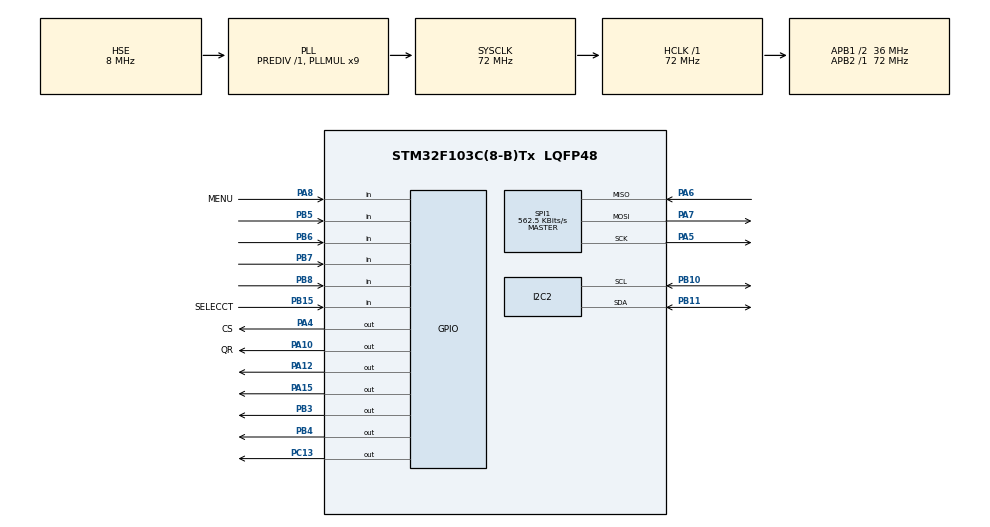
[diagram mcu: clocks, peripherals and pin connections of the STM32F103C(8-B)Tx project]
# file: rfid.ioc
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Mcu.Family=STM32F1
Mcu.Name=STM32F103C(8-B)Tx
Mcu.Package=LQFP48
NVIC.PriorityGroup=NVIC_PRIORITYGROUP_4
NVIC.TIM2_IRQn=true\:0\:0\:false\:false\:true\:true\:true\:true
PA10.GPIO_Label=QR
PA10.Signal=GPIO_Output
PA12.Signal=GPIO_Output
PA13.Mode=Serial_Wire
PA13.Signal=SYS_JTMS-SWDIO
PA14.Mode=Serial_Wire
PA14.Signal=SYS_JTCK-SWCLK
PA15.Signal=GPIO_Output
PA4.GPIO_Label=CS
PA4.Signal=GPIO_Output
PA5.Mode=Full_Duplex_Master
PA5.Signal=SPI1_SCK
PA6.Mode=Full_Duplex_Master
PA6.Signal=SPI1_MISO
PA7.Mode=Full_Duplex_Master
PA7.Signal=SPI1_MOSI
PA8.GPIO_Label=MENU
PA8.GPIO_PuPd=GPIO_PULLUP
PA8.Signal=GPIO_Input
PB10.Mode=I2C
PB10.Signal=I2C2_SCL
PB11.Mode=I2C
PB11.Signal=I2C2_SDA
PB15.GPIO_Label=SELECCT
PB15.GPIO_PuPd=GPIO_PULLUP
PB15.Signal=GPIO_Input
PB3.Signal=GPIO_Output
PB4.Signal=GPIO_Output
PB5.GPIO_PuPd=GPIO_PULLUP
PB5.Signal=GPIO_Input
PB6.GPIO_PuPd=GPIO_PULLUP
PB6.Signal=GPIO_Input
PB7.GPIO_PuPd=GPIO_PULLUP
PB7.Signal=GPIO_Input
PB8.GPIO_PuPd=GPIO_PULLUP
PB8.Signal=GPIO_Input
PC13-TAMPER-RTC.Signal=GPIO_Output
PD0-OSC_IN.Mode=HSE-External-Oscillator
PD0-OSC_IN.Signal=RCC_OSC_IN
PD1-OSC_OUT.Mode=HSE-External-Oscillator
PD1-OSC_OUT.Signal=RCC_OSC_OUT
ProjectManager.HeapSize=0x200
ProjectManager.StackSize=0x400
ProjectManager.TargetToolchain=STM32CubeIDE
RCC.AHBFreq_Value=72000000
RCC.APB1CLKDivider=RCC_HCLK_DIV2
RCC.APB1Freq_Value=36000000
RCC.APB1TimFreq_Value=72000000
RCC.APB2Freq_Value=72000000
RCC.APB2TimFreq_Value=72000000
RCC.HCLKFreq_Value=72000000
RCC.PLLMUL=RCC_PLL_MUL9
RCC.PLLSourceVirtual=RCC_PLLSOURCE_HSE
RCC.SYSCLKFreq_VALUE=72000000
RCC.SYSCLKSource=RCC_SYSCLKSOURCE_PLLCLK
RCC.USBFreq_Value=72000000
SPI1.BaudRatePrescaler=SPI_BAUDRATEPRESCALER_128
SPI1.CalculateBaudRate=562.5 KBits/s
SPI1.DataSize=SPI_DATASIZE_8BIT
SPI1.Direction=SPI_DIRECTION_2LINES
SPI1.Mode=SPI_MODE_MASTER
SPI1.VirtualType=VM_MASTER
TIM2.AutoReloadPreload=TIM_AUTORELOAD_PRELOAD_ENABLE
TIM2.Period=1999
TIM2.Prescaler=35999
VP_TIM2_VS_ClockSourceINT.Mode=Internal
board=custom

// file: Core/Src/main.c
/* USER CODE BEGIN Header */
/**
 ******************************************************************************
 * @file           : main.c
 * @brief          : Main program body
 ******************************************************************************
 * @attention
 *
 * Copyright (c) 2022 STMicroelectronics.
 * All rights reserved.
 *
 * This software is licensed under terms that can be found in the LICENSE file
 * in the root directory of this software component.
 * If no LICENSE file comes with this software, it is provided AS-IS.
 *
 ******************************************************************************
 */
/* USER CODE END Header */
#include "main.h"

/* USER CODE BEGIN Includes */
#include "stdio.h"
#include "lcd.h"
#include "rc522.h"
#include "flash.h"
#include "keypad4x4.h"

/* USER CODE END Includes */

/* USER CODE BEGIN PD */
#define StartAddressUID 0x0800A000
/* USER CODE END PD */

I2C_HandleTypeDef hi2c2;

SPI_HandleTypeDef hspi1;

TIM_HandleTypeDef htim2;

/* USER CODE BEGIN PV */
uint32_t starButtonPressStartTime = 0;
uint8_t CardID[MFRC522_MAX_LEN];
uint8_t exitmenu = 255;
LCD_I2C_HandleTypeDef LCD1;
uint32_t AddressUID = StartAddressUID;
uint8_t PassWord[6] = {'0', '0', '0', '0', '0', '0'};
uint32_t delayloa = 100;
char str[20];
/* USER CODE END PV */

void SystemClock_Config(void);
static void MX_GPIO_Init(void);
static void MX_SPI1_Init(void);
static void MX_TIM2_Init(void);
static void MX_I2C2_Init(void);

/* USER CODE BEGIN 0 */

void seclectmenu(void);
void adduid(uint8_t key);
void removeuid(uint32_t address);
void checkthe(void);
void startadd(void);
void setaddress(void);
void password_keypad(void);
void resetflash(void);
uint8_t checkMENU(void);
uint8_t checkSELECT(void);
uint8_t checkcountUID(void);
uint32_t CheckKey(uint8_t key);
uint8_t CheckUID(uint8_t *data, uint32_t address);
uint8_t CheckListUID(uint8_t *data);
uint8_t checkbuton(GPIO_TypeDef *GPIOx, uint16_t GPIO_Pin);

void HAL_TIM_PeriodElapsedCallback(TIM_HandleTypeDef *htim)
{
	HAL_GPIO_TogglePin(GPIOC, GPIO_PIN_13);
	if(exitmenu > 0)
		exitmenu --;
	else exitmenu = 0;
}

/* USER CODE END 0 */

int main(void)
{

  /* MCU Configuration--------------------------------------------------------*/

  /* Reset of all peripherals, Initializes the Flash interface and the Systick. */
  HAL_Init();

  /* Configure the system clock */
  SystemClock_Config();

  /* Initialize all configured peripherals */
  MX_GPIO_Init();
  MX_SPI1_Init();
  MX_TIM2_Init();
  MX_I2C2_Init();
  /* USER CODE BEGIN 2 */

  TM_MFRC522_Init();

  CLCD_I2C_Init(&LCD1, &hi2c2, 16, 2, 0x27<<1);
  /* USER CODE END 2 */

  /* Infinite loop */
  /* USER CODE BEGIN WHILE */
	HAL_TIM_Base_Start_IT(&htim2);

	if (checkcountUID() == 0)
	{
		startadd();
	}
	while (1)
	{
    /* USER CODE END WHILE */

    /* USER CODE BEGIN 3 */

		CLCD_SetCursor(&LCD1, 0, 0);
		CLCD_WriteString(&LCD1, " SCAN YOUR CARD");
		if (checkMENU() != 0)
		{
			exitmenu = 15;
			CLCD_SetCursor(&LCD1, 0, 1);
			CLCD_WriteString(&LCD1, "   ADMIN CARD");
			uint8_t key = 0;
			uint8_t stat ;
			while (exitmenu )
			{
				if (TM_MFRC522_Check(CardID) == MI_OK)
				{
					key = CheckListUID(CardID);
					key = key >> 4;
					break;
				}
				stat = checkMENU();
				switch(stat)
				{
				case 0:
					break;
				case 3:
					password_keypad();
					key = 99;
					exitmenu = 0;
					break;
				default :
					key = 2;
					exitmenu = 0;
					break;
				}
			}
			switch (key){
			case 1:
				seclectmenu();
				break;
			case 99:
				CLCD_Clear(&LCD1);
				break;
			default:
				CLCD_Clear(&LCD1);
				CLCD_SetCursor(&LCD1, 0, 0);
				CLCD_WriteString(&LCD1, "NOT ACCCESSIBLE");
				HAL_Delay(2000);
				CLCD_Clear(&LCD1);
				break;
			}
		}
		if (TM_MFRC522_Check(CardID) == MI_OK)
		{
//			sprintf(str, "ID: 0x%02X%02X%02X%02X%02X", CardID[0], CardID[1], CardID[2], CardID[3], CardID[4]);

			if (CheckListUID(CardID) != 0)
			{

				CLCD_Clear(&LCD1);
				CLCD_SetCursor(&LCD1, 0, 0);
				CLCD_WriteString(&LCD1, "    WELCOME");
				CLCD_SetCursor(&LCD1, 0, 1);
				CLCD_WriteString(&LCD1,str);
				HAL_Delay(3000);
			}
			else
			{
				CLCD_Clear(&LCD1);
				CLCD_SetCursor(&LCD1, 0, 0);
				CLCD_WriteString(&LCD1, "   WRONG CARD");
				CLCD_SetCursor(&LCD1, 0, 1);
				CLCD_WriteString(&LCD1, str);
				HAL_Delay(3000);
			}

		}
	}
  /* USER CODE END 3 */
}

void SystemClock_Config(void)
{
  RCC_OscInitTypeDef RCC_OscInitStruct = {0};
  RCC_ClkInitTypeDef RCC_ClkInitStruct = {0};

  /** Initializes the RCC Oscillators according to the specified parameters
  * in the RCC_OscInitTypeDef structure.
  */
  RCC_OscInitStruct.OscillatorType = RCC_OSCILLATORTYPE_HSE;
  RCC_OscInitStruct.HSEState = RCC_HSE_ON;
  RCC_OscInitStruct.HSEPredivValue = RCC_HSE_PREDIV_DIV1;
  RCC_OscInitStruct.HSIState = RCC_HSI_ON;
  RCC_OscInitStruct.PLL.PLLState = RCC_PLL_ON;
  RCC_OscInitStruct.PLL.PLLSource = RCC_PLLSOURCE_HSE;
  RCC_OscInitStruct.PLL.PLLMUL = RCC_PLL_MUL9;
  if (HAL_RCC_OscConfig(&RCC_OscInitStruct) != HAL_OK)
  {
    Error_Handler();
  }

  /** Initializes the CPU, AHB and APB buses clocks
  */
  RCC_ClkInitStruct.ClockType = RCC_CLOCKTYPE_HCLK|RCC_CLOCKTYPE_SYSCLK
                              |RCC_CLOCKTYPE_PCLK1|RCC_CLOCKTYPE_PCLK2;
  RCC_ClkInitStruct.SYSCLKSource = RCC_SYSCLKSOURCE_PLLCLK;
  RCC_ClkInitStruct.AHBCLKDivider = RCC_SYSCLK_DIV1;
  RCC_ClkInitStruct.APB1CLKDivider = RCC_HCLK_DIV2;
  RCC_ClkInitStruct.APB2CLKDivider = RCC_HCLK_DIV1;

  if (HAL_RCC_ClockConfig(&RCC_ClkInitStruct, FLASH_LATENCY_2) != HAL_OK)
  {
    Error_Handler();
  }
}

static void MX_I2C2_Init(void)
{

  hi2c2.Instance = I2C2;
  hi2c2.Init.ClockSpeed = 100000;
  hi2c2.Init.DutyCycle = I2C_DUTYCYCLE_2;
  hi2c2.Init.OwnAddress1 = 0;
  hi2c2.Init.AddressingMode = I2C_ADDRESSINGMODE_7BIT;
  hi2c2.Init.DualAddressMode = I2C_DUALADDRESS_DISABLE;
  hi2c2.Init.OwnAddress2 = 0;
  hi2c2.Init.GeneralCallMode = I2C_GENERALCALL_DISABLE;
  hi2c2.Init.NoStretchMode = I2C_NOSTRETCH_DISABLE;
  if (HAL_I2C_Init(&hi2c2) != HAL_OK)
  {
    Error_Handler();
  }

}

static void MX_SPI1_Init(void)
{

  /* SPI1 parameter configuration*/
  hspi1.Instance = SPI1;
  hspi1.Init.Mode = SPI_MODE_MASTER;
  hspi1.Init.Direction = SPI_DIRECTION_2LINES;
  hspi1.Init.DataSize = SPI_DATASIZE_8BIT;
  hspi1.Init.CLKPolarity = SPI_POLARITY_LOW;
  hspi1.Init.CLKPhase = SPI_PHASE_1EDGE;
  hspi1.Init.NSS = SPI_NSS_SOFT;
  hspi1.Init.BaudRatePrescaler = SPI_BAUDRATEPRESCALER_128;
  hspi1.Init.FirstBit = SPI_FIRSTBIT_MSB;
  hspi1.Init.TIMode = SPI_TIMODE_DISABLE;
  hspi1.Init.CRCCalculation = SPI_CRCCALCULATION_DISABLE;
  hspi1.Init.CRCPolynomial = 10;
  if (HAL_SPI_Init(&hspi1) != HAL_OK)
  {
    Error_Handler();
  }

}

static void MX_TIM2_Init(void)
{

  TIM_ClockConfigTypeDef sClockSourceConfig = {0};
  TIM_MasterConfigTypeDef sMasterConfig = {0};

  htim2.Instance = TIM2;
  htim2.Init.Prescaler = 35999;
  htim2.Init.CounterMode = TIM_COUNTERMODE_UP;
  htim2.Init.Period = 1999;
  htim2.Init.ClockDivision = TIM_CLOCKDIVISION_DIV1;
  htim2.Init.AutoReloadPreload = TIM_AUTORELOAD_PRELOAD_ENABLE;
  if (HAL_TIM_Base_Init(&htim2) != HAL_OK)
  {
    Error_Handler();
  }
  sClockSourceConfig.ClockSource = TIM_CLOCKSOURCE_INTERNAL;
  if (HAL_TIM_ConfigClockSource(&htim2, &sClockSourceConfig) != HAL_OK)
  {
    Error_Handler();
  }
  sMasterConfig.MasterOutputTrigger = TIM_TRGO_RESET;
  sMasterConfig.MasterSlaveMode = TIM_MASTERSLAVEMODE_DISABLE;
  if (HAL_TIMEx_MasterConfigSynchronization(&htim2, &sMasterConfig) != HAL_OK)
  {
    Error_Handler();
  }

}

static void MX_GPIO_Init(void)
{
  GPIO_InitTypeDef GPIO_InitStruct = {0};

  /* GPIO Ports Clock Enable */
  __HAL_RCC_GPIOC_CLK_ENABLE();
  __HAL_RCC_GPIOD_CLK_ENABLE();
  __HAL_RCC_GPIOA_CLK_ENABLE();
  __HAL_RCC_GPIOB_CLK_ENABLE();

  /*Configure GPIO pin Output Level */
  HAL_GPIO_WritePin(GPIOC, GPIO_PIN_13, GPIO_PIN_RESET);

  /*Configure GPIO pin Output Level */
  HAL_GPIO_WritePin(GPIOA, CS_Pin|QR_Pin|GPIO_PIN_12|GPIO_PIN_15, GPIO_PIN_RESET);

  /*Configure GPIO pin Output Level */
  HAL_GPIO_WritePin(GPIOB, GPIO_PIN_3|GPIO_PIN_4, GPIO_PIN_RESET);

  /*Configure GPIO pin : PC13 */
  GPIO_InitStruct.Pin = GPIO_PIN_13;
  GPIO_InitStruct.Mode = GPIO_MODE_OUTPUT_PP;
  GPIO_InitStruct.Pull = GPIO_NOPULL;
  GPIO_InitStruct.Speed = GPIO_SPEED_FREQ_LOW;
  HAL_GPIO_Init(GPIOC, &GPIO_InitStruct);

  /*Configure GPIO pins : CS_Pin QR_Pin PA12 PA15 */
  GPIO_InitStruct.Pin = CS_Pin|QR_Pin|GPIO_PIN_12|GPIO_PIN_15;
  GPIO_InitStruct.Mode = GPIO_MODE_OUTPUT_PP;
  GPIO_InitStruct.Pull = GPIO_NOPULL;
  GPIO_InitStruct.Speed = GPIO_SPEED_FREQ_LOW;
  HAL_GPIO_Init(GPIOA, &GPIO_InitStruct);

  /*Configure GPIO pins : SELECCT_Pin PB5 PB6 PB7
                           PB8 */
  GPIO_InitStruct.Pin = SELECCT_Pin|GPIO_PIN_5|GPIO_PIN_6|GPIO_PIN_7
                          |GPIO_PIN_8;
  GPIO_InitStruct.Mode = GPIO_MODE_INPUT;
  GPIO_InitStruct.Pull = GPIO_PULLUP;
  HAL_GPIO_Init(GPIOB, &GPIO_InitStruct);

  /*Configure GPIO pin : MENU_Pin */
  GPIO_InitStruct.Pin = MENU_Pin;
  GPIO_InitStruct.Mode = GPIO_MODE_INPUT;
  GPIO_InitStruct.Pull = GPIO_PULLUP;
  HAL_GPIO_Init(MENU_GPIO_Port, &GPIO_InitStruct);

  /*Configure GPIO pins : PB3 PB4 */
  GPIO_InitStruct.Pin = GPIO_PIN_3|GPIO_PIN_4;
  GPIO_InitStruct.Mode = GPIO_MODE_OUTPUT_PP;
  GPIO_InitStruct.Pull = GPIO_NOPULL;
  GPIO_InitStruct.Speed = GPIO_SPEED_FREQ_LOW;
  HAL_GPIO_Init(GPIOB, &GPIO_InitStruct);

}

/* USER CODE BEGIN 4 */

uint8_t checkMENU(void) {

	if (KEYPAD_Read() != '*')
		return 0;
	else
	{
		HAL_Delay(50);
		if(KEYPAD_Read() != '*')	return 0;
		uint8_t i = 50;
		while (KEYPAD_Read() == '*')
		{
			HAL_Delay(10);
			i--;
			if (i == 0)
			{
				i = 250;
				while (KEYPAD_Read() == '*')
				{
					HAL_Delay(10);
					i--;
					if(i == 0)	return 3;
				}
				return 2;
			}
		}
		return 1;
	}
//    if (buttonPressed == '*') {
//        starButtonPressStartTime = HAL_GetTick();
//    } else {
//        starButtonPressStartTime = 0;
//    }
//
//    currentTime = HAL_GetTick();
//    if (starButtonPressStartTime != 0 && (currentTime - starButtonPressStartTime) >= 500)
//        return 3;
//    else
//    	return 1;
}
uint8_t checkSELECT(void) {
	if (KEYPAD_Read() != '#')
		return 0;
	else
	{
		HAL_Delay(50);
		if(KEYPAD_Read() != '#')	return 0;
		uint8_t i = 50;
		while (KEYPAD_Read() == '#')
		{
			HAL_Delay(10);
			i--;
			if (i == 0)
			{
				i = 250;
				while (KEYPAD_Read() == '#')
				{
					HAL_Delay(10);
					i--;
					if(i == 0)	return 3;
				}
				return 2;
			}
		}
		return 1;
	}
}

uint8_t checkbuton(GPIO_TypeDef *GPIOx, uint16_t GPIO_Pin)
{
	if (HAL_GPIO_ReadPin(GPIOx, GPIO_Pin) == 1)
		return 0;
	else
	{
		HAL_Delay(50);
		if(HAL_GPIO_ReadPin(GPIOx, GPIO_Pin) == 1)	return 0;
		uint8_t i = 50;
		while (HAL_GPIO_ReadPin(GPIOx, GPIO_Pin) == 0)
		{
			HAL_Delay(10);
			i--;
			if (i == 0)
			{
				i = 250;
				while (HAL_GPIO_ReadPin(GPIOx, GPIO_Pin) == 0)
				{
					HAL_Delay(10);
					i--;
					if(i == 0)	return 3;
				}
				return 2;
			}
		}
		return 1;
	}
}

void seclectmenu(void)
{
	exitmenu = 15;
	uint8_t status = -1;
	CLCD_Clear(&LCD1);
	CLCD_SetCursor(&LCD1, 0, 0);
	CLCD_WriteString(&LCD1, "  SELECT MENU");
	CLCD_SetCursor(&LCD1, 0, 1);
	CLCD_WriteString(&LCD1, "PLEASE PRESS #");
	while (exitmenu )
	{
		if (checkSELECT() != 0)
		{
			exitmenu = 15;
			status++;
			status = (status > 3) ? 0 : status;
			switch (status)
			{
			case 0:
				CLCD_Clear(&LCD1);
				CLCD_SetCursor(&LCD1, 0, 0);
				CLCD_WriteString(&LCD1, "=>  ADD CARD");
				CLCD_SetCursor(&LCD1, 0, 1);
				CLCD_WriteString(&LCD1, "    REMOVE CARD");
				break;
			case 1:
				CLCD_Clear(&LCD1);
				CLCD_SetCursor(&LCD1, 0, 0);
				CLCD_WriteString(&LCD1, "    ADD CARD");
				CLCD_SetCursor(&LCD1, 0, 1);
				CLCD_WriteString(&LCD1, "=>  REMOVE CARD");
				break;
			case 2:
				CLCD_Clear(&LCD1);
				CLCD_SetCursor(&LCD1, 0, 0);
				CLCD_WriteString(&LCD1, "    REMOVE CARD");
				CLCD_SetCursor(&LCD1, 0, 1);
				CLCD_WriteString(&LCD1, "=>  CHECK CARD");
				break;
			default:
				CLCD_Clear(&LCD1);
				CLCD_SetCursor(&LCD1, 0, 0);
				CLCD_WriteString(&LCD1, "    CHECK CARD");
				CLCD_SetCursor(&LCD1, 0, 1);
				CLCD_WriteString(&LCD1, "=>  BACK");
				break;
			}
		}
		if (checkMENU() != 0)
		{
			exitmenu = 15;
			switch (status)
			{
			case 0:
				CLCD_Clear(&LCD1);
				CLCD_SetCursor(&LCD1, 0, 0);
				CLCD_WriteString(&LCD1, "    SELECT ");
				CLCD_SetCursor(&LCD1, 0, 1);
				CLCD_WriteString(&LCD1, "PLEASE PRESS #");
				uint8_t statusadd = 0;
				uint8_t back = 1;
				while (back == 1)
				{
					if (exitmenu == 0)
					{
						CLCD_Clear(&LCD1);
						HAL_Delay(1000);
						return;
					}
					if (checkSELECT() != 0)
					{
						exitmenu = 15;
						statusadd++;
						statusadd = (statusadd > 2) ? 0 : statusadd;
						switch (statusadd)
						{
						case 1:
							CLCD_Clear(&LCD1);
							CLCD_SetCursor(&LCD1, 0, 0);
							CLCD_WriteString(&LCD1, "=> ADMIN CARD");
							CLCD_SetCursor(&LCD1, 0, 1);
							CLCD_WriteString(&LCD1, "   GUEST CARD");
							break;
						case 2:
							CLCD_Clear(&LCD1);
							CLCD_SetCursor(&LCD1, 0, 0);
							CLCD_WriteString(&LCD1, "   ADMIN CARD");
							CLCD_SetCursor(&LCD1, 0, 1);
							CLCD_WriteString(&LCD1, "=> GUEST CARD");
							break;
						default:
							CLCD_Clear(&LCD1);
							CLCD_SetCursor(&LCD1, 0, 0);
							CLCD_WriteString(&LCD1, "   GUEST CARD");
							CLCD_SetCursor(&LCD1, 0, 1);
							CLCD_WriteString(&LCD1, "=> BACK");
							break;
						}
					}
					if (checkMENU() != 0)
					{
						exitmenu = 15;
						switch (statusadd)
						{
						case 1:
							CLCD_Clear(&LCD1);
							CLCD_SetCursor(&LCD1, 0, 0);
							CLCD_WriteString(&LCD1, "=>  ADMIN CARD 1 ");
							CLCD_SetCursor(&LCD1, 0, 1);
							CLCD_WriteString(&LCD1, "    ADMIN CARD 2 ");
							uint8_t statusadd1 = 1;
							uint8_t back11 = 1;
							while (back11 == 1)
							{
								if (exitmenu == 0)
								{
									CLCD_Clear(&LCD1);
									HAL_Delay(1000);
									return;
								}
								if (checkSELECT() != 0)
								{
									exitmenu = 15;
									statusadd1++;
									statusadd1 = (statusadd1 > 4) ? 0 : statusadd1;
									switch (statusadd1)
									{
									case 1:
										CLCD_Clear(&LCD1);
										CLCD_SetCursor(&LCD1, 0, 0);
										CLCD_WriteString(&LCD1, "=>  ADMIN CARD 1 ");
										CLCD_SetCursor(&LCD1, 0, 1);
										CLCD_WriteString(&LCD1, "    ADMIN CARD 2 ");
										break;
									case 2:
										CLCD_Clear(&LCD1);
										CLCD_SetCursor(&LCD1, 0, 0);
										CLCD_WriteString(&LCD1, "=>  ADMIN CARD 2 ");
										CLCD_SetCursor(&LCD1, 0, 1);
										CLCD_WriteString(&LCD1, "    ADMIN CARD 3 ");
										break;
									case 3:
										CLCD_Clear(&LCD1);
										CLCD_SetCursor(&LCD1, 0, 0);
										CLCD_WriteString(&LCD1, "=>  ADMIN CARD 3 ");
										CLCD_SetCursor(&LCD1, 0, 1);
										CLCD_WriteString(&LCD1, "    ADMIN CARD 4 ");
										break;
									case 4:
										CLCD_Clear(&LCD1);
										CLCD_SetCursor(&LCD1, 0, 0);
										CLCD_WriteString(&LCD1, "=>  ADMIN CARD 4 ");
										CLCD_SetCursor(&LCD1, 0, 1);
										CLCD_WriteString(&LCD1, "    BACK ");
										break;
									default:
										CLCD_Clear(&LCD1);
										CLCD_SetCursor(&LCD1, 0, 0);
										CLCD_WriteString(&LCD1, "    ADMIN CARD 4 ");
										CLCD_SetCursor(&LCD1, 0, 1);
										CLCD_WriteString(&LCD1, "=>  BACK");
										break;
									}
								}
								if (checkMENU() != 0)
								{
									exitmenu = 15;
									uint8_t keyadd1 = (statusadd << 4) + statusadd1;
									switch (statusadd1)
									{
									case 1:
										if (CheckKey(keyadd1) != 0)
										{
											CLCD_Clear(&LCD1);
											CLCD_SetCursor(&LCD1, 0, 0);
											CLCD_WriteString(&LCD1, "ADMIN 1");
											CLCD_SetCursor(&LCD1, 0, 1);
											CLCD_WriteString(&LCD1, "AVAILABLE");
											HAL_Delay(1000);
											CLCD_Clear(&LCD1);
											CLCD_SetCursor(&LCD1, 0, 0);
											CLCD_WriteString(&LCD1, "=>  ADMIN CARD 1 ");
											CLCD_SetCursor(&LCD1, 0, 1);
											CLCD_WriteString(&LCD1, "    ADMIN CARD 2 ");
										}
										else
										{
											adduid(keyadd1);
											CLCD_Clear(&LCD1);
											CLCD_SetCursor(&LCD1, 0, 0);
											CLCD_WriteString(&LCD1, "=>  ADMIN CARD 1 ");
											CLCD_SetCursor(&LCD1, 0, 1);
											CLCD_WriteString(&LCD1, "    ADMIN CARD 2 ");
										}
										break;
									case 2:
										if (CheckKey(keyadd1) != 0)
										{
											CLCD_Clear(&LCD1);
											CLCD_SetCursor(&LCD1, 0, 0);
											CLCD_WriteString(&LCD1, "ADMIN 2");
											CLCD_SetCursor(&LCD1, 0, 1);
											CLCD_WriteString(&LCD1, "AVAILABLE");
											HAL_Delay(1000);
											CLCD_Clear(&LCD1);
											CLCD_SetCursor(&LCD1, 0, 0);
											CLCD_WriteString(&LCD1, "=>  ADMIN CARD 2 ");
											CLCD_SetCursor(&LCD1, 0, 1);
											CLCD_WriteString(&LCD1, "    ADMIN CARD 3 ");
										}
										else
										{
											adduid(keyadd1);
											CLCD_Clear(&LCD1);
											CLCD_SetCursor(&LCD1, 0, 0);
											CLCD_WriteString(&LCD1, "=>  ADMIN CARD 2 ");
											CLCD_SetCursor(&LCD1, 0, 1);
											CLCD_WriteString(&LCD1, "    ADMIN CARD 3 ");
										}
										break;
									case 3:
										if (CheckKey(keyadd1) != 0)
										{
											CLCD_Clear(&LCD1);
											CLCD_SetCursor(&LCD1, 0, 0);
											CLCD_WriteString(&LCD1, "ADMIN 3");
											CLCD_SetCursor(&LCD1, 0, 1);
											CLCD_WriteString(&LCD1, "AVAILABLE");
											HAL_Delay(1000);
											CLCD_Clear(&LCD1);
											CLCD_SetCursor(&LCD1, 0, 0);
											CLCD_WriteString(&LCD1, "=>  ADMIN CARD 3 ");
											CLCD_SetCursor(&LCD1, 0, 1);
											CLCD_WriteString(&LCD1, "    ADMIN CARD 4 ");
										}
										else
										{
											adduid(keyadd1);
											CLCD_Clear(&LCD1);
											CLCD_SetCursor(&LCD1, 0, 0);
											CLCD_WriteString(&LCD1, "=>  ADMIN CARD 3 ");
											CLCD_SetCursor(&LCD1, 0, 1);
											CLCD_WriteString(&LCD1, "    ADMIN CARD 4 ");
										}
										break;
									case 4:
										if (CheckKey(keyadd1) != 0)
										{
											CLCD_Clear(&LCD1);
											CLCD_SetCursor(&LCD1, 0, 0);
											CLCD_WriteString(&LCD1, "ADMIN 4");
											CLCD_SetCursor(&LCD1, 0, 1);
											CLCD_WriteString(&LCD1, "AVAILABLE");
											HAL_Delay(1000);
											CLCD_Clear(&LCD1);
											CLCD_SetCursor(&LCD1, 0, 0);
											CLCD_WriteString(&LCD1, "=>  ADMIN CARD 4 ");
											CLCD_SetCursor(&LCD1, 0, 1);
											CLCD_WriteString(&LCD1, "    BACK ");
										}
										else
										{
											adduid(keyadd1);
											CLCD_Clear(&LCD1);
											CLCD_SetCursor(&LCD1, 0, 0);
											CLCD_WriteString(&LCD1, "=>  ADMIN CARD 4 ");
											CLCD_SetCursor(&LCD1, 0, 1);
											CLCD_WriteString(&LCD1, "    BACK ");
										}
										break;
									default:
										back11 = 0;
										break;
									}
								}
							}
							CLCD_Clear(&LCD1);
							CLCD_SetCursor(&LCD1, 0, 0);
							CLCD_WriteString(&LCD1, "=> ADMIN CARD");
							CLCD_SetCursor(&LCD1, 0, 1);
							CLCD_WriteString(&LCD1, "   GUEST CARD");
							break;
						case 2:
							CLCD_Clear(&LCD1);
							CLCD_SetCursor(&LCD1, 0, 0);
							CLCD_WriteString(&LCD1, "=>  GUEST CARD 1 ");
							CLCD_SetCursor(&LCD1, 0, 1);
							CLCD_WriteString(&LCD1, "    GUEST CARD 2 ");
							uint8_t statusadd2 = 1;
							uint8_t back12 = 1;
							while (back12 == 1)
							{
								if (exitmenu == 0)
								{
									CLCD_Clear(&LCD1);
									HAL_Delay(1000);
									return;
								}
								if (checkSELECT() != 0)
								{
									exitmenu = 15;
									statusadd2++;
									statusadd2 = (statusadd2 > 4) ? 0 : statusadd2;
									switch (statusadd2)
									{
									case 1:
										CLCD_Clear(&LCD1);
										CLCD_SetCursor(&LCD1, 0, 0);
										CLCD_WriteString(&LCD1, "=>  GUEST CARD 1 ");
										CLCD_SetCursor(&LCD1, 0, 1);
										CLCD_WriteString(&LCD1, "    GUEST CARD 2 ");
										break;
									case 2:
										CLCD_Clear(&LCD1);
										CLCD_SetCursor(&LCD1, 0, 0);
										CLCD_WriteString(&LCD1, "=>  GUEST CARD 2 ");
										CLCD_SetCursor(&LCD1, 0, 1);
										CLCD_WriteString(&LCD1, "    GUEST CARD 3 ");
										break;
									case 3:
										CLCD_Clear(&LCD1);
										CLCD_SetCursor(&LCD1, 0, 0);
										CLCD_WriteString(&LCD1, "=>  GUEST CARD 3 ");
										CLCD_SetCursor(&LCD1, 0, 1);
										CLCD_WriteString(&LCD1, "    GUEST CARD 4 ");
										break;
									case 4:
										CLCD_Clear(&LCD1);
										CLCD_SetCursor(&LCD1, 0, 0);
										CLCD_WriteString(&LCD1, "=>  GUEST CARD 4 ");
										CLCD_SetCursor(&LCD1, 0, 1);
										CLCD_WriteString(&LCD1, "    BACK ");
										break;
									default:
										CLCD_Clear(&LCD1);
										CLCD_SetCursor(&LCD1, 0, 0);
										CLCD_WriteString(&LCD1, "    GUEST CARD 4 ");
										CLCD_SetCursor(&LCD1, 0, 1);
										CLCD_WriteString(&LCD1, "=>  BACK");
										break;
									}
								}
								if (checkMENU() != 0)
								{
									exitmenu = 15;
									uint8_t keyadd2 = (statusadd << 4) + statusadd2;
									switch (statusadd2)
									{
									case 1:
										if (CheckKey(keyadd2) != 0)
										{
											CLCD_Clear(&LCD1);
											CLCD_SetCursor(&LCD1, 0, 0);
											CLCD_WriteString(&LCD1, "GUEST 1");
											CLCD_SetCursor(&LCD1, 0, 1);
											CLCD_WriteString(&LCD1, "AVAILABLE");
											HAL_Delay(1000);
											CLCD_Clear(&LCD1);
											CLCD_SetCursor(&LCD1, 0, 0);
											CLCD_WriteString(&LCD1, "=>  GUEST CARD 1 ");
											CLCD_SetCursor(&LCD1, 0, 1);
											CLCD_WriteString(&LCD1, "    GUEST CARD 2 ");
										}
										else
										{
											adduid(keyadd2);
											CLCD_Clear(&LCD1);
											CLCD_SetCursor(&LCD1, 0, 0);
											CLCD_WriteString(&LCD1, "=>  GUEST CARD 1 ");
											CLCD_SetCursor(&LCD1, 0, 1);
											CLCD_WriteString(&LCD1, "    GUEST CARD 2 ");
										}
										break;
									case 2:
										if (CheckKey(keyadd2) != 0)
										{
											CLCD_Clear(&LCD1);
											CLCD_SetCursor(&LCD1, 0, 0);
											CLCD_WriteString(&LCD1, "GUEST 2");
											CLCD_SetCursor(&LCD1, 0, 1);
											CLCD_WriteString(&LCD1, "AVAILABLE");
											HAL_Delay(1000);
											CLCD_Clear(&LCD1);
											CLCD_SetCursor(&LCD1, 0, 0);
											CLCD_WriteString(&LCD1, "=>  GUEST CARD 2 ");
											CLCD_SetCursor(&LCD1, 0, 1);
											CLCD_WriteString(&LCD1, "    GUEST CARD 3 ");
										}
										else
										{
											adduid(keyadd2);
											CLCD_Clear(&LCD1);
											CLCD_SetCursor(&LCD1, 0, 0);
											CLCD_WriteString(&LCD1, "=>  GUEST CARD 2 ");
											CLCD_SetCursor(&LCD1, 0, 1);
											CLCD_WriteString(&LCD1, "    GUEST CARD 3 ");
										}
										break;
									case 3:
										if (CheckKey(keyadd2) != 0)
										{
											CLCD_Clear(&LCD1);
											CLCD_SetCursor(&LCD1, 0, 0);
											CLCD_WriteString(&LCD1, "GUEST 3");
											CLCD_SetCursor(&LCD1, 0, 1);
											CLCD_WriteString(&LCD1, "AVAILABLE");
											HAL_Delay(1000);
											CLCD_Clear(&LCD1);
											CLCD_SetCursor(&LCD1, 0, 0);
											CLCD_WriteString(&LCD1, "=>  GUEST CARD 3 ");
											CLCD_SetCursor(&LCD1, 0, 1);
											CLCD_WriteString(&LCD1, "    GUEST CARD 4 ");
										}
										else
										{
											adduid(keyadd2);
											CLCD_Clear(&LCD1);
											CLCD_SetCursor(&LCD1, 0, 0);
											CLCD_WriteString(&LCD1, "=>  GUEST CARD 3 ");
											CLCD_SetCursor(&LCD1, 0, 1);
											CLCD_WriteString(&LCD1, "    GUEST CARD 4 ");
										}
										break;
									case 4:
										if (CheckKey(keyadd2) != 0)
										{
											CLCD_Clear(&LCD1);
											CLCD_SetCursor(&LCD1, 0, 0);
											CLCD_WriteString(&LCD1, "GUEST");
											CLCD_SetCursor(&LCD1, 0, 1);
											CLCD_WriteString(&LCD1, "AVAILABLE");
											HAL_Delay(1000);
											CLCD_Clear(&LCD1);
											CLCD_SetCursor(&LCD1, 0, 0);
											CLCD_WriteString(&LCD1, "=>  THE 4 ");
											CLCD_SetCursor(&LCD1, 0, 1);
											CLCD_WriteString(&LCD1, "    BACK ");
										}
										else
										{
											adduid(keyadd2);
											CLCD_Clear(&LCD1);
											CLCD_SetCursor(&LCD1, 0, 0);
											CLCD_WriteString(&LCD1, "=>  GUEST CARD 4 ");
											CLCD_SetCursor(&LCD1, 0, 1);
											CLCD_WriteString(&LCD1, "    BACK ");
										}
										break;
									default:
										back12 = 0;
										break;
									}
								}
							}
							CLCD_Clear(&LCD1);
							CLCD_SetCursor(&LCD1, 0, 0);
							CLCD_WriteString(&LCD1, "   ADMIN CARD");
							CLCD_SetCursor(&LCD1, 0, 1);
							CLCD_WriteString(&LCD1, "=> GUEST CARD");
							break;
						default:
							back = 0;
							break;
						}
					}
				}
				CLCD_Clear(&LCD1);
				CLCD_SetCursor(&LCD1, 0, 0);
				CLCD_WriteString(&LCD1, "=>  ADD CARD");
				CLCD_SetCursor(&LCD1, 0, 1);
				CLCD_WriteString(&LCD1, "    REMOVE CARD");
				break;
			case 1:
				CLCD_Clear(&LCD1);
				CLCD_SetCursor(&LCD1, 0, 0);
				CLCD_WriteString(&LCD1, "     SELECT ");
				CLCD_SetCursor(&LCD1, 0, 1);
				CLCD_WriteString(&LCD1, "PLEASE PRESS #");
				uint8_t statusremove = -1;
				uint8_t backrm = 1;
				while (backrm == 1)
				{
					if (exitmenu == 0)
					{
						CLCD_Clear(&LCD1);
						HAL_Delay(1000);
						return;
					}
					if (checkSELECT() != 0)
					{
						exitmenu = 15;
						statusremove++;
						statusremove = (statusremove > 2) ? 0 : statusremove;
						switch (statusremove)
						{
						case 0:
							CLCD_Clear(&LCD1);
							CLCD_SetCursor(&LCD1, 0, 0);
							CLCD_WriteString(&LCD1, "=> REMOVE CARD");
							CLCD_SetCursor(&LCD1, 0, 1);
							CLCD_WriteString(&LCD1, "   REMOVE ALL");
							break;
						case 1:
							CLCD_Clear(&LCD1);
							CLCD_SetCursor(&LCD1, 0, 0);
							CLCD_WriteString(&LCD1, "   REMOVE CARD");
							CLCD_SetCursor(&LCD1, 0, 1);
							CLCD_WriteString(&LCD1, "=> REMOVE ALL");
							break;
						default:
							CLCD_Clear(&LCD1);
							CLCD_SetCursor(&LCD1, 0, 0);
							CLCD_WriteString(&LCD1, "   REMOVE ALL");
							CLCD_SetCursor(&LCD1, 0, 1);
							CLCD_WriteString(&LCD1, "=> BACK");
							break;
						}
					}
					if (checkMENU() != 0)
					{
						exitmenu = 15;
						switch (statusremove)
						{
						case 0:
							CLCD_Clear(&LCD1);
							CLCD_SetCursor(&LCD1, 0, 0);
							CLCD_WriteString(&LCD1, "=> SELECT CARD");
							CLCD_SetCursor(&LCD1, 0, 1);
							CLCD_WriteString(&LCD1, "   SCAN CARD");
							uint8_t statusrm1 = 0;
							uint8_t backrm1 = 1;
							while (backrm1 == 1)
							{
								if (exitmenu == 0)
								{
									CLCD_Clear(&LCD1);
									HAL_Delay(1000);
									return;
								}
								if (checkSELECT() != 0)
								{
									statusrm1++;
									statusrm1 = (statusrm1 > 2) ? 0 : statusrm1;
									switch (statusrm1)
									{
									case 0:
										CLCD_Clear(&LCD1);
										CLCD_SetCursor(&LCD1, 0, 0);
										CLCD_WriteString(&LCD1, "=> SELECT CARD");
										CLCD_SetCursor(&LCD1, 0, 1);
										CLCD_WriteString(&LCD1, "   SCAN CARD");
										break;
									case 1:
										CLCD_Clear(&LCD1);
										CLCD_SetCursor(&LCD1, 0, 0);
										CLCD_WriteString(&LCD1, "   SELECT CARD");
										CLCD_SetCursor(&LCD1, 0, 1);
										CLCD_WriteString(&LCD1, "=> SCAN CARD");
										;
										break;
									default:
										CLCD_Clear(&LCD1);
										CLCD_SetCursor(&LCD1, 0, 0);
										CLCD_WriteString(&LCD1, "   SCAN CARD");
										CLCD_SetCursor(&LCD1, 0, 1);
										CLCD_WriteString(&LCD1, "=> BACK");
										break;
									}
								}
								if (checkMENU() != 0)
								{
									exitmenu = 15;
									switch (statusrm1)
									{
									case 0:
										CLCD_Clear(&LCD1);
										CLCD_SetCursor(&LCD1, 0, 0);
										CLCD_WriteString(&LCD1, "=> ADMIN CARD");
										CLCD_SetCursor(&LCD1, 0, 1);
										CLCD_WriteString(&LCD1, "   GUEST CARD");
										uint8_t statusadd = 1;
										uint8_t backrm10 = 1;
										while (backrm10 == 1)
										{
											if (exitmenu == 0)
											{
												CLCD_Clear(&LCD1);
												HAL_Delay(1000);
												return;
											}
											if (checkSELECT() != 0)
											{
												exitmenu = 15;
												statusadd++;
												statusadd = (statusadd > 2) ? 0 : statusadd;
												switch (statusadd)
												{
												case 1:
													CLCD_Clear(&LCD1);
													CLCD_SetCursor(&LCD1, 0, 0);
													CLCD_WriteString(&LCD1, "=> ADMIN CARD");
													CLCD_SetCursor(&LCD1, 0, 1);
													CLCD_WriteString(&LCD1, "   ADMIN CARD");
													break;
												case 2:
													CLCD_Clear(&LCD1);
													CLCD_SetCursor(&LCD1, 0, 0);
													CLCD_WriteString(&LCD1, "   ADMIN CARD");
													CLCD_SetCursor(&LCD1, 0, 1);
													CLCD_WriteString(&LCD1, "=> ADMIN CARD");
													break;
												default:
													CLCD_Clear(&LCD1);
													CLCD_SetCursor(&LCD1, 0, 0);
													CLCD_WriteString(&LCD1, "   ADMIN CARD");
													CLCD_SetCursor(&LCD1, 0, 1);
													CLCD_WriteString(&LCD1, "=> BACK");
													break;
												}
											}
											if (checkMENU() != 0)
											{
												exitmenu = 15;
												switch (statusadd)
												{
												case 1:
													CLCD_Clear(&LCD1);
													CLCD_SetCursor(&LCD1, 0, 0);
													CLCD_WriteString(&LCD1, "=>  ADMIN CARD 1 ");
													CLCD_SetCursor(&LCD1, 0, 1);
													CLCD_WriteString(&LCD1, "    ADMIN CARD 2 ");
													uint8_t statusadd1 = 1;
													uint8_t back11 = 1;
													while (back11 == 1)
													{
														if (exitmenu == 0)
														{
															CLCD_Clear(&LCD1);
															HAL_Delay(1000);
															return;
														}
														if (checkSELECT() != 0)
														{
															exitmenu = 15;
															statusadd1++;
															statusadd1 = (statusadd1 > 4) ? 0 : statusadd1;
															switch (statusadd1)
															{
															case 1:
																CLCD_Clear(&LCD1);
																CLCD_SetCursor(&LCD1, 0, 0);
																CLCD_WriteString(&LCD1, "=>  ADMIN CARD 1 ");
																CLCD_SetCursor(&LCD1, 0, 1);
																CLCD_WriteString(&LCD1, "    ADMIN CARD 2 ");
																break;
															case 2:
																CLCD_Clear(&LCD1);
																CLCD_SetCursor(&LCD1, 0, 0);
																CLCD_WriteString(&LCD1, "=>  ADMIN CARD 2 ");
																CLCD_SetCursor(&LCD1, 0, 1);
																CLCD_WriteString(&LCD1, "    ADMIN CARD 3 ");
																break;
															case 3:
																CLCD_Clear(&LCD1);
																CLCD_SetCursor(&LCD1, 0, 0);
																CLCD_WriteString(&LCD1, "=>  ADMIN CARD 3 ");
																CLCD_SetCursor(&LCD1, 0, 1);
																CLCD_WriteString(&LCD1, "    ADMIN CARD 4 ");
																break;
															case 4:
																CLCD_Clear(&LCD1);
																CLCD_SetCursor(&LCD1, 0, 0);
																CLCD_WriteString(&LCD1, "=>  ADMIN CARD 4 ");
																CLCD_SetCursor(&LCD1, 0, 1);
																CLCD_WriteString(&LCD1, "    BACK ");
																break;
															default:
																CLCD_Clear(&LCD1);
																CLCD_SetCursor(&LCD1, 0, 0);
																CLCD_WriteString(&LCD1, "    ADMIN CARD 4 ");
																CLCD_SetCursor(&LCD1, 0, 1);
																CLCD_WriteString(&LCD1, "=>  BACK");
																break;
															}
														}
														if (checkMENU() != 0)
														{
															exitmenu = 15;
															uint8_t keyadd1 = (statusadd << 4) + statusadd1;
															switch (statusadd1)
															{
															case 1:
																if (CheckKey(keyadd1) == 0)
																{
																	CLCD_Clear(&LCD1);
																	CLCD_SetCursor(&LCD1, 0, 0);
																	CLCD_WriteString(&LCD1, "NO ADMIN CARD 1 ");
																	HAL_Delay(1000);
																	CLCD_Clear(&LCD1);
																	CLCD_SetCursor(&LCD1, 0, 0);
																	CLCD_WriteString(&LCD1, "=>  ADMIN CARD 1 ");
																	CLCD_SetCursor(&LCD1, 0, 1);
																	CLCD_WriteString(&LCD1, "    ADMIN CARD 2 ");
																}
																else
																{
																	removeuid(CheckKey(keyadd1));
																	CLCD_Clear(&LCD1);
																	CLCD_SetCursor(&LCD1, 0, 0);
																	CLCD_WriteString(&LCD1, "  CARD 1 DELETION ");
																	CLCD_SetCursor(&LCD1, 0, 1);
																	CLCD_WriteString(&LCD1, "   SUCCESSFUL  ");
																	HAL_Delay(1000);
																	if (checkcountUID() == 0)
																	{
																		startadd();
																		exitmenu = 0;
																	}
																	else
																	{
																		CLCD_Clear(&LCD1);
																		CLCD_SetCursor(&LCD1, 0, 0);
																		CLCD_WriteString(&LCD1, "=>  ADMIN CARD 1 ");
																		CLCD_SetCursor(&LCD1, 0, 1);
																		CLCD_WriteString(&LCD1, "    ADMIN CARD 2 ");
																	}
																}
																break;
															case 2:
																if (CheckKey(keyadd1) == 0)
																{
																	CLCD_Clear(&LCD1);
																	CLCD_SetCursor(&LCD1, 0, 0);
																	CLCD_WriteString(&LCD1, "NO ADMIN CARD 2 ");
																	HAL_Delay(1000);
																	CLCD_Clear(&LCD1);
																	CLCD_SetCursor(&LCD1, 0, 0);
																	CLCD_WriteString(&LCD1, "=>  ADMIN CARD 2 ");
																	CLCD_SetCursor(&LCD1, 0, 1);
																	CLCD_WriteString(&LCD1, "    ADMIN CARD 3 ");
																}
																else
																{
																	removeuid(CheckKey(keyadd1));
																	CLCD_Clear(&LCD1);
																	CLCD_SetCursor(&LCD1, 0, 0);
																	CLCD_WriteString(&LCD1, "  CARD 2 DELETION ");
																	CLCD_SetCursor(&LCD1, 0, 1);
																	CLCD_WriteString(&LCD1, "   SUCCESSFUL  ");
																	HAL_Delay(1000);
																	if (checkcountUID() == 0)
																	{
																		startadd();
																		exitmenu = 0;
																	}
																	else
																	{
																		CLCD_Clear(&LCD1);
																		CLCD_SetCursor(&LCD1, 0, 0);
																		CLCD_WriteString(&LCD1, "=>  ADMIN CARD 2 ");
																		CLCD_SetCursor(&LCD1, 0, 1);
																		CLCD_WriteString(&LCD1, "    ADMIN CARD 3 ");
																	}
																}
																break;
															case 3:
																if (CheckKey(keyadd1) == 0)
																{
																	CLCD_Clear(&LCD1);
																	CLCD_SetCursor(&LCD1, 0, 0);
																	CLCD_WriteString(&LCD1, "NO ADMIN CARD 3 ");
																	HAL_Delay(1000);
																	CLCD_Clear(&LCD1);
																	CLCD_SetCursor(&LCD1, 0, 0);
																	CLCD_WriteString(&LCD1, "=>  ADMIN CARD 3 ");
																	CLCD_SetCursor(&LCD1, 0, 1);
																	CLCD_WriteString(&LCD1, "    ADMIN CARD 4 ");
																}
																else
																{
																	removeuid(CheckKey(keyadd1));
																	CLCD_Clear(&LCD1);
																	CLCD_SetCursor(&LCD1, 0, 0);
																	CLCD_WriteString(&LCD1, "  CARD 3 DELETION ");
																	CLCD_SetCursor(&LCD1, 0, 1);
																	CLCD_WriteString(&LCD1, "   SUCCESSFUL  ");
																	HAL_Delay(1000);
																	if (checkcountUID() == 0)
																	{
																		startadd();
																		exitmenu = 0;
																	}
																	else
																	{
																		CLCD_Clear(&LCD1);
																		CLCD_SetCursor(&LCD1, 0, 0);
																		CLCD_WriteString(&LCD1, "=>  ADMIN CARD 3 ");
																		CLCD_SetCursor(&LCD1, 0, 1);
																		CLCD_WriteString(&LCD1, "    ADMIN CARD 4 ");
																	}
																}
																break;
															case 4:
																if (CheckKey(keyadd1) == 0)
																{
																	CLCD_Clear(&LCD1);
																	CLCD_SetCursor(&LCD1, 0, 0);
																	CLCD_WriteString(&LCD1, "NO ADMIN CARD 4 ");
																	HAL_Delay(1000);
																	CLCD_Clear(&LCD1);
																	CLCD_SetCursor(&LCD1, 0, 0);
																	CLCD_WriteString(&LCD1, "=>  ADMIN CARD 4 ");
																	CLCD_SetCursor(&LCD1, 0, 1);
																	CLCD_WriteString(&LCD1, "    BACK ");
																}
																else
																{
																	removeuid(CheckKey(keyadd1));
																	CLCD_Clear(&LCD1);
																	CLCD_SetCursor(&LCD1, 0, 0);
																	CLCD_WriteString(&LCD1, "  CARD 4 DELETION ");
																	CLCD_SetCursor(&LCD1, 0, 1);
																	CLCD_WriteString(&LCD1, "   SUCCESSFUL  ");
																	HAL_Delay(1000);
																	if (checkcountUID() == 0)
																	{
																		startadd();
																		exitmenu = 0;
																	}
																	else
																	{
																		CLCD_Clear(&LCD1);
																		CLCD_SetCursor(&LCD1, 0, 0);
																		CLCD_WriteString(&LCD1, "=>  ADMIN CARD 4 ");
																		CLCD_SetCursor(&LCD1, 0, 1);
																		CLCD_WriteString(&LCD1, "    BACK ");
																	}
																}
																break;
															default:
																back11 = 0;
																break;
															}
														}
													}
													CLCD_Clear(&LCD1);
													CLCD_SetCursor(&LCD1, 0, 0);
													CLCD_WriteString(&LCD1, "=> ADMIN CARD");
													CLCD_SetCursor(&LCD1, 0, 1);
													CLCD_WriteString(&LCD1, "   GUEST CARD");
													break;
												case 2:
													CLCD_Clear(&LCD1);
													CLCD_SetCursor(&LCD1, 0, 0);
													CLCD_WriteString(&LCD1, "=>  GUEST 1 ");
													CLCD_SetCursor(&LCD1, 0, 1);
													CLCD_WriteString(&LCD1, "    GUEST CARD 2 ");
													uint8_t statusadd2 = 1;
													uint8_t back12 = 1;
													while (back12 == 1)
													{
														if (exitmenu == 0)
														{
															CLCD_Clear(&LCD1);
															HAL_Delay(1000);
															return;
														}
														if (checkSELECT() != 0)
														{
															exitmenu = 15;
															statusadd2++;
															statusadd2 = (statusadd2 > 4) ? 0 : statusadd2;
															switch (statusadd2)
															{
															case 1:
																CLCD_Clear(&LCD1);
																CLCD_SetCursor(&LCD1, 0, 0);
																CLCD_WriteString(&LCD1, "=>  GUEST CARD 1 ");
																CLCD_SetCursor(&LCD1, 0, 1);
																CLCD_WriteString(&LCD1, "    GUEST CARD 2 ");
																break;
															case 2:
																CLCD_Clear(&LCD1);
																CLCD_SetCursor(&LCD1, 0, 0);
																CLCD_WriteString(&LCD1, "=>  GUEST CARD 2 ");
																CLCD_SetCursor(&LCD1, 0, 1);
																CLCD_WriteString(&LCD1, "    GUEST CARD 3 ");
																break;
															case 3:
																CLCD_Clear(&LCD1);
																CLCD_SetCursor(&LCD1, 0, 0);
																CLCD_WriteString(&LCD1, "=>  GUEST CARD 3 ");
																CLCD_SetCursor(&LCD1, 0, 1);
																CLCD_WriteString(&LCD1, "    GUEST CARD 4 ");
																break;
															case 4:
																CLCD_Clear(&LCD1);
																CLCD_SetCursor(&LCD1, 0, 0);
																CLCD_WriteString(&LCD1, "=>  GUEST CARD 4 ");
																CLCD_SetCursor(&LCD1, 0, 1);
																CLCD_WriteString(&LCD1, "    BACK ");
																break;
															default:
																CLCD_Clear(&LCD1);
																CLCD_SetCursor(&LCD1, 0, 0);
																CLCD_WriteString(&LCD1, "    GUEST CARD 4 ");
																CLCD_SetCursor(&LCD1, 0, 1);
																CLCD_WriteString(&LCD1, "=>  BACK");
																break;
															}
														}
														if (checkMENU() != 0)
														{
															exitmenu = 15;
															uint8_t keyadd2 = (statusadd << 4) + statusadd2;
															switch (statusadd2)
															{
															case 1:
																if (CheckKey(keyadd2) == 0)
																{
																	CLCD_Clear(&LCD1);
																	CLCD_SetCursor(&LCD1, 0, 0);
																	CLCD_WriteString(&LCD1, "NO GUEST CARD 1 ");
																	HAL_Delay(1000);
																	CLCD_Clear(&LCD1);
																	CLCD_SetCursor(&LCD1, 0, 0);
																	CLCD_WriteString(&LCD1, "=>  GUEST CARD 1 ");
																	CLCD_SetCursor(&LCD1, 0, 1);
																	CLCD_WriteString(&LCD1, "    GUEST CARD 2 ");
																}
																else
																{
																	removeuid(CheckKey(keyadd2));
																	CLCD_Clear(&LCD1);
																	CLCD_SetCursor(&LCD1, 0, 0);
																	CLCD_WriteString(&LCD1, "  CARD 1 DELETION ");
																	CLCD_SetCursor(&LCD1, 0, 1);
																	CLCD_WriteString(&LCD1, "   SUCCESSFUL  ");
																	HAL_Delay(1000);
																	CLCD_Clear(&LCD1);
																	CLCD_SetCursor(&LCD1, 0, 0);
																	CLCD_WriteString(&LCD1, "=>  GUEST CARD 1 ");
																	CLCD_SetCursor(&LCD1, 0, 1);
																	CLCD_WriteString(&LCD1, "    GUEST CARD 2 ");
																}
																break;
															case 2:
																if (CheckKey(keyadd2) == 0)
																{
																	CLCD_Clear(&LCD1);
																	CLCD_SetCursor(&LCD1, 0, 0);
																	CLCD_WriteString(&LCD1, "NO GUEST CARD 2 ");
																	HAL_Delay(1000);
																	CLCD_Clear(&LCD1);
																	CLCD_SetCursor(&LCD1, 0, 0);
																	CLCD_WriteString(&LCD1, "=>  GUEST CARD 2 ");
																	CLCD_SetCursor(&LCD1, 0, 1);
																	CLCD_WriteString(&LCD1, "    GUEST CARD 3 ");
																}
																else
																{
																	removeuid(CheckKey(keyadd2));
																	CLCD_Clear(&LCD1);
																	CLCD_SetCursor(&LCD1, 0, 0);
																	CLCD_WriteString(&LCD1, "  CARD 2 DELETION ");
																	CLCD_SetCursor(&LCD1, 0, 1);
																	CLCD_WriteString(&LCD1, "   SUCCESSFUL  ");
																	HAL_Delay(1000);
																	CLCD_Clear(&LCD1);
																	CLCD_SetCursor(&LCD1, 0, 0);
																	CLCD_WriteString(&LCD1, "=>  GUEST CARD 2 ");
																	CLCD_SetCursor(&LCD1, 0, 1);
																	CLCD_WriteString(&LCD1, "    GUEST CARD 3 ");
																}
																break;
															case 3:
																if (CheckKey(keyadd2) == 0)
																{
																	CLCD_Clear(&LCD1);
																	CLCD_SetCursor(&LCD1, 0, 0);
																	CLCD_WriteString(&LCD1, "NO GUEST CARD 3 ");
																	HAL_Delay(1000);
																	CLCD_Clear(&LCD1);
																	CLCD_SetCursor(&LCD1, 0, 0);
																	CLCD_WriteString(&LCD1, "=>  GUEST CARD 3 ");
																	CLCD_SetCursor(&LCD1, 0, 1);
																	CLCD_WriteString(&LCD1, "    GUEST CARD 4 ");
																}
																else
																{
																	removeuid(CheckKey(keyadd2));
																	CLCD_Clear(&LCD1);
																	CLCD_SetCursor(&LCD1, 0, 0);
																	CLCD_WriteString(&LCD1, "  CARD 3 DELETION ");
																	CLCD_SetCursor(&LCD1, 0, 1);
																	CLCD_WriteString(&LCD1, "   SUCCESSFUL  ");
																	HAL_Delay(1000);
																	CLCD_Clear(&LCD1);
																	CLCD_SetCursor(&LCD1, 0, 0);
																	CLCD_WriteString(&LCD1, "=>  GUEST CARD 3 ");
																	CLCD_SetCursor(&LCD1, 0, 1);
																	CLCD_WriteString(&LCD1, "    GUEST CARD 4 ");
																}
																break;
															case 4:
																if (CheckKey(keyadd2) == 0)
																{
																	CLCD_Clear(&LCD1);
																	CLCD_SetCursor(&LCD1, 0, 0);
																	CLCD_WriteString(&LCD1, "NO GUEST CARD 4 ");
																	HAL_Delay(1000);
																	CLCD_Clear(&LCD1);
																	CLCD_SetCursor(&LCD1, 0, 0);
																	CLCD_WriteString(&LCD1, "=>  GUEST CARD 4 ");
																	CLCD_SetCursor(&LCD1, 0, 1);
																	CLCD_WriteString(&LCD1, "    BACK ");
																}
																else
																{
																	removeuid(CheckKey(keyadd2));
																	CLCD_Clear(&LCD1);
																	CLCD_SetCursor(&LCD1, 0, 0);
																	CLCD_WriteString(&LCD1, "  CARD 4 DELETION ");
																	CLCD_SetCursor(&LCD1, 0, 1);
																	CLCD_WriteString(&LCD1, "   SUCCESSFUL  ");
																	HAL_Delay(1000);
																	CLCD_Clear(&LCD1);
																	CLCD_SetCursor(&LCD1, 0, 0);
																	CLCD_WriteString(&LCD1, "=>  GUEST CARD 4 ");
																	CLCD_SetCursor(&LCD1, 0, 1);
																	CLCD_WriteString(&LCD1, "    BACK ");
																}
																break;
															default:
																back12 = 0;
																break;
															}
														}
													}
													CLCD_Clear(&LCD1);
													CLCD_SetCursor(&LCD1, 0, 0);
													CLCD_WriteString(&LCD1, "   ADMIN CARD");
													CLCD_SetCursor(&LCD1, 0, 1);
													CLCD_WriteString(&LCD1, "=> GUEST CARD");
													break;
												default:
													backrm10 = 0;
													break;
												}
											}
										}
										CLCD_Clear(&LCD1);
										CLCD_SetCursor(&LCD1, 0, 0);
										CLCD_WriteString(&LCD1, "=> SELECT CARD");
										CLCD_SetCursor(&LCD1, 0, 1);
										CLCD_WriteString(&LCD1, "   SCAN CARD");
										break;
									case 1:
										CLCD_Clear(&LCD1);
										CLCD_SetCursor(&LCD1, 0, 0);
										CLCD_WriteString(&LCD1, "SCAN CARD");
										CLCD_SetCursor(&LCD1, 0, 1);
										CLCD_WriteString(&LCD1, "=>  BACK");
										uint8_t rmquet = 1;
										while (rmquet)
										{
											if (TM_MFRC522_Check(CardID) == MI_OK)
											{

												if (CheckListUID(CardID) != 0)
												{
													removeuid(CheckKey(CheckListUID(CardID)));
													CLCD_Clear(&LCD1);
													CLCD_SetCursor(&LCD1, 0, 0);
													CLCD_WriteString(&LCD1, "  CARD DELETION ");
													CLCD_SetCursor(&LCD1, 0, 1);
													CLCD_WriteString(&LCD1, "   SUCCESSFUL  ");
													HAL_Delay(1000);
													if (checkcountUID() == 0)
													{
														startadd();
														rmquet = 1;
														exitmenu = 0;
														return;
													}else{
														CLCD_Clear(&LCD1);
														CLCD_SetCursor(&LCD1, 0, 0);
														CLCD_WriteString(&LCD1, "SCAN CARD");
														CLCD_SetCursor(&LCD1, 0, 1);
														CLCD_WriteString(&LCD1, "=>  BACK");
													}

												}
												else
												{
													CLCD_Clear(&LCD1);
													CLCD_SetCursor(&LCD1, 0, 0);
													CLCD_WriteString(&LCD1, "CARD UNAVAILABLE");
													HAL_Delay(1000);
													CLCD_Clear(&LCD1);
													CLCD_SetCursor(&LCD1, 0, 0);
													CLCD_WriteString(&LCD1, "SCAN CARD");
													CLCD_SetCursor(&LCD1, 0, 1);
													CLCD_WriteString(&LCD1, "=>  BACK");
												}
											}
											if (checkMENU() == 1)
											{
												rmquet = 0;
											}
										}
										CLCD_Clear(&LCD1);
										CLCD_SetCursor(&LCD1, 0, 0);
										CLCD_WriteString(&LCD1, "   SELECT CARD");
										CLCD_SetCursor(&LCD1, 0, 1);
										CLCD_WriteString(&LCD1, "=> SCAN CARD");
										break;
									default:
										backrm1 = 0;
										break;
									}
								}
							}
							CLCD_Clear(&LCD1);
							CLCD_SetCursor(&LCD1, 0, 0);
							CLCD_WriteString(&LCD1, "=> REMOVE CARD");
							CLCD_SetCursor(&LCD1, 0, 1);
							CLCD_WriteString(&LCD1, "   REMOVE ALL");
							break;
						case 1:
							resetflash();
							startadd();
							exitmenu = 0;
							break;
						default:
							backrm = 0;
							break;
						}
					}
				}
				CLCD_Clear(&LCD1);
				CLCD_SetCursor(&LCD1, 0, 0);
				CLCD_WriteString(&LCD1, "    ADD CARD");
				CLCD_SetCursor(&LCD1, 0, 1);
				CLCD_WriteString(&LCD1, "=>  REMOVE CARD");
				break;
			case 2:
				checkthe();
				CLCD_Clear(&LCD1);
				CLCD_SetCursor(&LCD1, 0, 0);
				CLCD_WriteString(&LCD1, "    REMOVE CARD");
				CLCD_SetCursor(&LCD1, 0, 1);
				CLCD_WriteString(&LCD1, "=>  CHECK CARD");
				break;
				break;
			default:
				exitmenu = 0;
				break;
			}
		}
	}
	CLCD_Clear(&LCD1);
	HAL_Delay(1000);
}
uint8_t CheckUID(uint8_t *data, uint32_t address)
{
	uint8_t arr[8];
	Flash_Read_Array(address, arr, 8);
	if (arr[6] != 0xFF)
		return 0;
	for (uint8_t i = 0; i < 5; i++)
	{
		if (data[i] != arr[i])
			return 0;
	}
	return 1;
}

uint8_t CheckListUID(uint8_t *data)
{
	uint32_t pt = StartAddressUID;
	while (Flash_Read_Byte(pt + 5) != 0xFF)
	{
		if(Flash_Read_2Byte(pt + 6) == 0xFFFF){
			if (CheckUID(data, pt) == 1)
				return *(uint8_t *)(pt + 5);
		}
		pt = pt + 8;
	}
	return 0;
}

uint8_t checkcountUID(void)
{
	uint32_t pt = StartAddressUID;
	uint8_t count = 0;
	while (Flash_Read_Byte(pt + 5) != 0xFF)
	{
		if(Flash_Read_2Byte(pt + 6) == 0xFFFF){
			if ((Flash_Read_Byte(pt + 5) >> 4) == 1)
			{
				count++;
			}
		}
		pt = pt + 8;
	}
	return count;
}

void adduid(uint8_t key)
{
	setaddress();
	CLCD_Clear(&LCD1);
	CLCD_SetCursor(&LCD1, 0, 0);
	CLCD_WriteString(&LCD1, "SCAN CARD");
	CLCD_SetCursor(&LCD1, 0, 1);
	CLCD_WriteString(&LCD1, "=>  BACK");
	while (exitmenu)
	{
		if (TM_MFRC522_Check(CardID) == MI_OK)
		{
			if (CheckListUID(CardID) == 0)
			{
				CardID[5] = key;
				Flash_Write_Array(AddressUID, CardID, 6);
				AddressUID += 8;
				CLCD_Clear(&LCD1);
				CLCD_SetCursor(&LCD1, 0, 0);
				CLCD_WriteString(&LCD1, "SUCCESSFUL");
				HAL_Delay(1000);
				return;
			}
			else
			{
				CLCD_Clear(&LCD1);
				CLCD_SetCursor(&LCD1, 0, 0);
				CLCD_WriteString(&LCD1, "CARD AVAILABLE");
				HAL_Delay(1000);
				CLCD_Clear(&LCD1);
				CLCD_SetCursor(&LCD1, 0, 0);
				CLCD_WriteString(&LCD1, "SCAN CARD");
				CLCD_SetCursor(&LCD1, 0, 1);
				CLCD_WriteString(&LCD1, "=>  BACK");
			}
		}
		if (checkMENU() == 1)
		{
			return;
		}
	}
}
void checkthe(void)
{
	exitmenu = 30;
	CLCD_Clear(&LCD1);
	CLCD_SetCursor(&LCD1, 0, 0);
	CLCD_WriteString(&LCD1, "SCAN CARD");
	CLCD_SetCursor(&LCD1, 0, 1);
	CLCD_WriteString(&LCD1, "=>  BACK");
	while (exitmenu )
	{
		if (TM_MFRC522_Check(CardID) == MI_OK)
		{

			if (CheckListUID(CardID) == 0)
			{
				CLCD_Clear(&LCD1);
				CLCD_SetCursor(&LCD1, 0, 0);
				CLCD_WriteString(&LCD1, "CARD NOT ADDED");
				HAL_Delay(1000);
				CLCD_Clear(&LCD1);
				CLCD_SetCursor(&LCD1, 0, 0);
				CLCD_WriteString(&LCD1, "SCAN CARD");
				CLCD_SetCursor(&LCD1, 0, 1);
				CLCD_WriteString(&LCD1, "=>  BACK");
				HAL_Delay(1000);
			}
			else
			{
				uint8_t key = CheckListUID(CardID);
				uint8_t key2 = key & 0x0f;
				uint8_t key1 = key >> 4;
				CLCD_Clear(&LCD1);
				switch (key1)
				{
				case 1:
					CLCD_SetCursor(&LCD1, 0, 0);
					CLCD_WriteString(&LCD1, "ADMIN CARD");
					break;
				default:
					CLCD_SetCursor(&LCD1, 0, 0);
					CLCD_WriteString(&LCD1, "GUEST CARD");
					break;
				}
				switch (key2)
				{
				case 1:
					CLCD_SetCursor(&LCD1, 0, 1);
					CLCD_WriteString(&LCD1, "CARD 1");
					break;
				case 2:
					CLCD_SetCursor(&LCD1, 0, 1);
					CLCD_WriteString(&LCD1, "CARD 2");
					break;
				case 3:
					CLCD_SetCursor(&LCD1, 0, 1);
					CLCD_WriteString(&LCD1, "CARD 3");
					break;
				default:
					CLCD_SetCursor(&LCD1, 0, 1);
					CLCD_WriteString(&LCD1, "CARD 4");
					break;
				}
				HAL_Delay(1000);
				CLCD_Clear(&LCD1);
				CLCD_SetCursor(&LCD1, 0, 0);
				CLCD_WriteString(&LCD1, "SCAN CARD");
				CLCD_SetCursor(&LCD1, 0, 1);
				CLCD_WriteString(&LCD1, "=>  BACK");
			}
		}
		if (checkMENU() == 1)
		{
			return;
		}
	}
}
uint32_t CheckKey(uint8_t key)
{
	uint32_t pt = StartAddressUID;
	while (Flash_Read_Byte(pt + 5) != 0xFF)
	{
		if(Flash_Read_2Byte(pt + 6) == 0xFFFF){
			if (*(uint8_t *)(pt + 5) == key)
				return pt;
		}
		pt = pt + 8;
	}
	return 0;
}
void removeuid(uint32_t addressrm)
{
	Flash_Write_2Byte(addressrm + 6, 0x0000);
}
void startadd(void)
{
	CLCD_Clear(&LCD1);
	CLCD_SetCursor(&LCD1, 0, 0);
	CLCD_WriteString(&LCD1, "SCAN CARD");
	CLCD_SetCursor(&LCD1, 0, 1);
	CLCD_WriteString(&LCD1, "ADMIN CARD");
	setaddress();
	while (1)
		{
			if (TM_MFRC522_Check(CardID) == MI_OK)
			{
				if (CheckListUID(CardID) == 0)
				{
					CardID[5] = 0x11;
					Flash_Write_Array(AddressUID, CardID, 6);
					AddressUID += 8;
					break;
				}
				else
				{
					CLCD_Clear(&LCD1);
					CLCD_SetCursor(&LCD1, 0, 0);
					CLCD_WriteString(&LCD1, "CARD AVAILABLE");
					HAL_Delay(1000);
					CLCD_Clear(&LCD1);
					CLCD_SetCursor(&LCD1, 0, 0);
					CLCD_WriteString(&LCD1, "SCAN CARD");
					CLCD_SetCursor(&LCD1, 0, 1);
					CLCD_WriteString(&LCD1, "ADMIN CARD");
				}
			}
		}
	CLCD_Clear(&LCD1);
	CLCD_SetCursor(&LCD1, 0, 0);
	CLCD_WriteString(&LCD1, "ADD SUCCESSFUL");
	CLCD_SetCursor(&LCD1, 0, 1);
	CLCD_WriteString(&LCD1, "ADMIN CARD");
	HAL_Delay(1000);
	CLCD_Clear(&LCD1);
}
void setaddress(void){
	uint32_t pt = StartAddressUID;
	while (Flash_Read_Byte(pt + 5) != 0xFF)
	{
		pt = pt + 8;
	}
	AddressUID = pt;
}
void password_keypad(void){
	CLCD_Clear(&LCD1);
	  CLCD_SetCursor(&LCD1, 0, 0);
	  CLCD_WriteString(&LCD1, "PASSWORD :");
	  exitmenu = 120;

	  uint8_t pass[16] = {-1};
	  uint8_t k = 0;

	  HAL_Delay(1000);
//	  while(checkMENU() != 0){}
		CLCD_SetCursor(&LCD1, k, 1);
		CLCD_WriteChar(&LCD1, 95);
	  while (exitmenu) {
	    // Read key from keypad
	    char key = KEYPAD_Read();

	    if (key != '#' && key != '*' && key != KEYPAD_NOT_PRESSED) {
	      CLCD_SetCursor(&LCD1, k, 1);
	      CLCD_WriteChar(&LCD1, '*');

	      pass[k] = key ;
	      k++;

	      if (k == 6) {
	        for (uint8_t i = 0; i < 6; i++) {
	          if (pass[i] != PassWord[i]) {
	            return;
	          }
	        }

//	        resetflash();
//	        startadd();
			CLCD_Clear(&LCD1);
			CLCD_SetCursor(&LCD1, 0, 0);
			CLCD_WriteString(&LCD1, "    WELCOME");
			HAL_Delay(5000);
	        exitmenu = 0;
	      }

	      CLCD_SetCursor(&LCD1, k, 1);
	      CLCD_WriteChar(&LCD1, 95);
	      while(KEYPAD_Read() != KEYPAD_NOT_PRESSED );
	    }
	  }
}

//void password(void){
//	CLCD_Clear(&LCD1);
//	CLCD_SetCursor(&LCD1, 0, 0);
//	CLCD_WriteString(&LCD1, "NHAP PASSWORD :");
//	exitmenu =120;
//	uint8_t pass[16] = {-1};
//	uint8_t k=0;
//	uint8_t pas = -1;
//	HAL_Delay(1000);
//	while(checkMENU() != 0){}
//	CLCD_SetCursor(&LCD1, k, 1);
//	CLCD_WriteChar(&LCD1, 95);
//	while(exitmenu){
//		if(checkSELECT() == 1){
//			pas++;
//			if(pas == 10)	pas = 0;
//			CLCD_SetCursor(&LCD1, k, 1);
//			CLCD_WriteChar(&LCD1, pas + 0x30);
//		}
//		if(checkMENU() == 1){
//			pass[k] = pas;
//			k = k+1;
//			pas = -1;
//			if(k == 16){
//				for(uint8_t i = 0; i<16; i++){
//					if(pass[i] != PassWord[i]){
//						return;
//					}
//				}
//				HAL_GPIO_WritePin(KHOA_GPIO_Port, KHOA_Pin, 1);
//				HAL_Delay(5000);
//				HAL_GPIO_WritePin(KHOA_GPIO_Port, KHOA_Pin, 0);
//				resetflash();
//				startadd();
//				exitmenu =0;
//			}
//			CLCD_SetCursor(&LCD1, k, 1);
//			CLCD_WriteChar(&LCD1, 95);
//		}
//
//	}
//
//}

void resetflash()
{
	uint32_t pt = StartAddressUID;
	while(Flash_Read_8Byte(pt) != 0xFFFFFFFFFFFFFFFF){
		Flash_Erase(pt);
	}
}
/* USER CODE END 4 */

void Error_Handler(void)
{
	__disable_irq();
	while (1)
	{
	}
}
